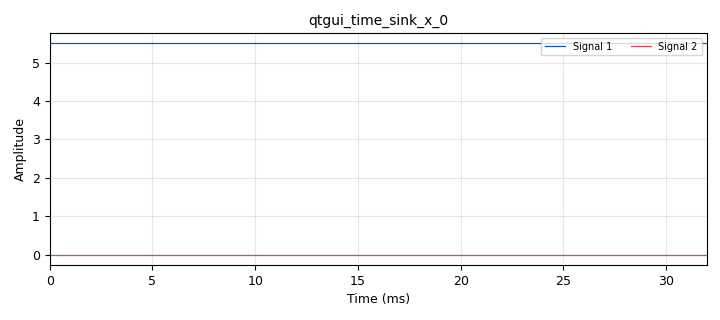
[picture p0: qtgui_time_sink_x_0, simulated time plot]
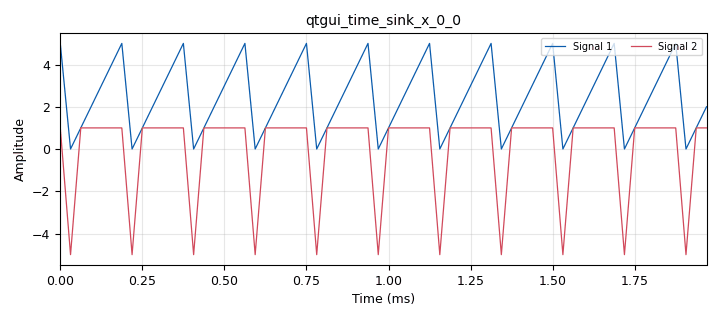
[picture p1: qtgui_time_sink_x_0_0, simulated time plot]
options:
  parameters:
    generate_options: qt_gui
    id: DIFERENCIADOR
    output_language: python
    title: Not titled yet
  states: {}

blocks:
- name: samp_rate
  id: variable
  parameters:
    value: '32000'
  states: {}
- name: blocks_throttle2_0
  id: blocks_throttle2
  parameters:
    samples_per_second: samp_rate
    type: float
  states: {}
- name: blocks_throttle2_0_0
  id: blocks_throttle2
  parameters:
    samples_per_second: samp_rate
    type: float
  states: {}
- name: blocks_vector_source_x_0
  id: blocks_vector_source_x
  parameters:
    repeat: 'True'
    type: float
    vector: '[5.5]'
  states: {}
- name: blocks_vector_source_x_0_0
  id: blocks_vector_source_x
  parameters:
    repeat: 'True'
    type: float
    vector: (1,2,3,4,5,0)
  states: {}
- name: epy_block_0
  id: epy_block
  parameters:
    _source_code: |-
      import numpy as np
      from gnuradio import gr

      class blk(gr.sync_block):

          def __init__(self):  
              gr.sync_block.__init__(
                  self,
                  name='e_Diff',   
                  in_sig=[np.float32],
                  out_sig=[np.float32]
              ) # <-- El paréntesis de cierre va aquí

              # Memoria para guardar la última muestra del bloque de datos anterior
              self.muestra_anterior = 0.0

          def work(self, input_items, output_items):
              x = input_items[0]   # Señal de entrada
              y0 = output_items[0] # Señal de salida diferencial
              
              if len(x) == 0:
                  return 0

              # Para derivar, insertamos la última muestra del paquete anterior al inicio
              x_completo = np.insert(x, 0, self.muestra_anterior)
              
              # np.diff calcula la diferencia entre elementos adyacentes: x[n] - x[n-1]
              y0[:] = np.diff(x_completo)
              
              # Guardamos la última muestra actual para usarla en el siguiente ciclo
              self.muestra_anterior = x[-1]
              
              return len(y0) # <-- Corregido: len(y0)
  states: {}
- name: epy_block_0_0
  id: epy_block
  parameters:
    _source_code: |-
      import numpy as np
      from gnuradio import gr

      class blk(gr.sync_block):

          def __init__(self):  
              gr.sync_block.__init__(
                  self,
                  name='e_Diff',   
                  in_sig=[np.float32],
                  out_sig=[np.float32]
              ) # <-- El paréntesis de cierre va aquí

              # Memoria para guardar la última muestra del bloque de datos anterior
              self.muestra_anterior = 0.0

          def work(self, input_items, output_items):
              x = input_items[0]   # Señal de entrada
              y0 = output_items[0] # Señal de salida diferencial
              
              if len(x) == 0:
                  return 0

              # Para derivar, insertamos la última muestra del paquete anterior al inicio
              x_completo = np.insert(x, 0, self.muestra_anterior)
              
              # np.diff calcula la diferencia entre elementos adyacentes: x[n] - x[n-1]
              y0[:] = np.diff(x_completo)
              
              # Guardamos la última muestra actual para usarla en el siguiente ciclo
              self.muestra_anterior = x[-1]
              
              return len(y0) # <-- Corregido: len(y0)
  states: {}
- name: qtgui_time_sink_x_0
  id: qtgui_time_sink_x
  parameters:
    autoscale: 'True'
    nconnections: '2'
    size: '1024'
    srate: samp_rate
    type: float
  states: {}
- name: qtgui_time_sink_x_0_0
  id: qtgui_time_sink_x
  parameters:
    autoscale: 'True'
    nconnections: '2'
    size: '64'
    srate: samp_rate
    type: float
  states: {}

connections:
- [blocks_throttle2_0, '0', epy_block_0, '0']
- [blocks_throttle2_0_0, '0', epy_block_0_0, '0']
- [blocks_vector_source_x_0, '0', blocks_throttle2_0, '0']
- [blocks_vector_source_x_0, '0', qtgui_time_sink_x_0, '0']
- [blocks_vector_source_x_0_0, '0', blocks_throttle2_0_0, '0']
- [blocks_vector_source_x_0_0, '0', qtgui_time_sink_x_0_0, '0']
- [epy_block_0, '0', qtgui_time_sink_x_0, '1']
- [epy_block_0_0, '0', qtgui_time_sink_x_0_0, '1']

metadata:
  file_format: 1
  grc_version: 3.10.12.0
